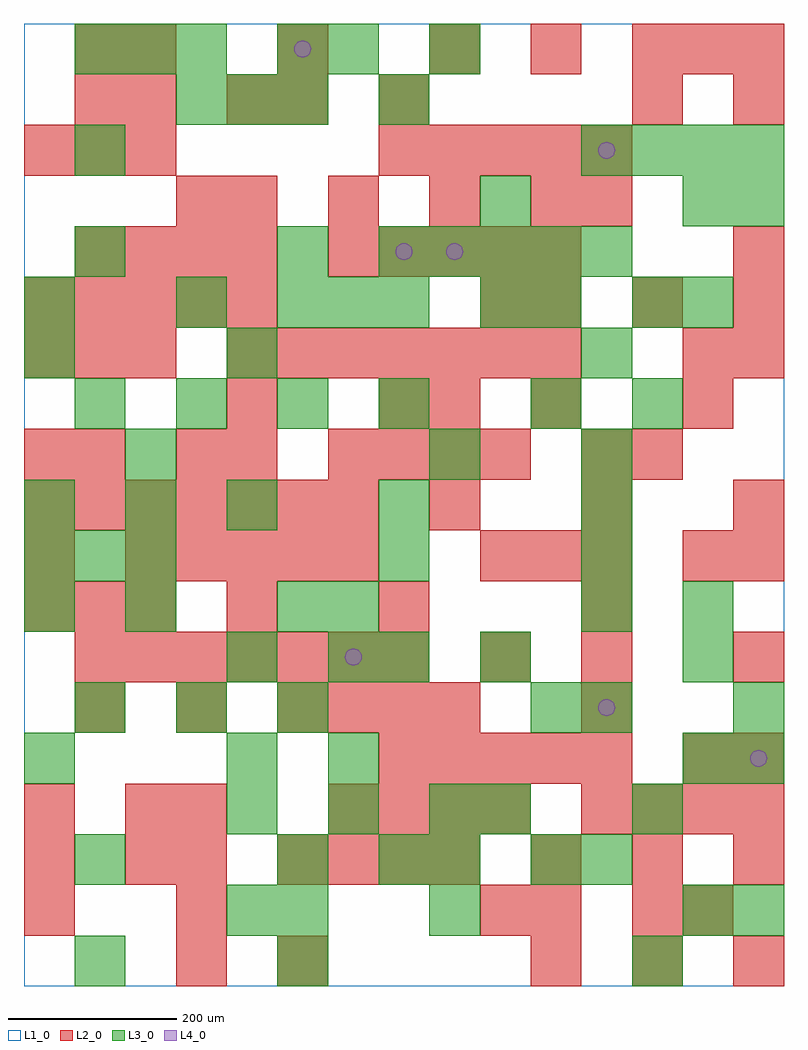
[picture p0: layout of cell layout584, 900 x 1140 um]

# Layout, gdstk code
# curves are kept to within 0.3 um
import gdstk
lib = gdstk.Library(unit=1e-6, precision=1e-09)
def R(c, l, rs):  # rectangles x0, y0, x1, y1
    for r in rs: c.add(gdstk.rectangle(r[:2], r[2:], *l))
def A(c, l, x, y, w, h, nx, ny, dx, dy):  # array of equal rectangles
    R(c, l, [(x+i*dx, y+j*dy, x+i*dx+w, y+j*dy+h) for i in range(nx) for j in range(ny)])
def P(c, l, *ps):  # polygons
    for p in ps: c.add(gdstk.Polygon(p, *l))
L1_0 = (1, 0)
L2_0 = (2, 0)
L3_0 = (3, 0)
L4_0 = (4, 0)

layout584 = lib.new_cell('layout584')
R(layout584, L1_0, [(0,0,900,1140)])
A(layout584, L2_0, 180, 0, 60, 60, 1, 4, 0, 60)
A(layout584, L2_0, 600, 0, 60, 60, 3, 2, 120, 120)
A(layout584, L2_0, 0, 60, 60, 60, 1, 3, 0, 60)
A(layout584, L2_0, 300, 120, 60, 60, 4, 1, 60, 0)
A(layout584, L2_0, 360, 180, 60, 60, 4, 2, 60, 420)
A(layout584, L2_0, 660, 180, 60, 60, 4, 1, 60, 0)
A(layout584, L2_0, 420, 240, 60, 60, 5, 2, 60, 720)
A(layout584, L2_0, 840, 240, 60, 60, 1, 3, 0, 120)
A(layout584, L2_0, 60, 300, 60, 60, 3, 1, 120, 0)
A(layout584, L2_0, 360, 300, 60, 60, 3, 1, 60, 0)
A(layout584, L2_0, 660, 300, 60, 60, 1, 3, 0, 60)
A(layout584, L2_0, 60, 360, 60, 60, 7, 1, 60, 0)
A(layout584, L2_0, 0, 420, 60, 60, 3, 2, 60, 300)
A(layout584, L2_0, 120, 480, 60, 60, 5, 1, 60, 0)
A(layout584, L2_0, 540, 480, 60, 60, 3, 1, 60, 0)
A(layout584, L2_0, 0, 540, 60, 60, 7, 1, 60, 0)
A(layout584, L2_0, 480, 540, 60, 60, 3, 1, 180, 0)
A(layout584, L2_0, 240, 720, 60, 60, 7, 1, 60, 0)
A(layout584, L2_0, 0, 780, 60, 60, 5, 1, 60, 0)
A(layout584, L2_0, 600, 780, 60, 60, 3, 1, 120, 0)
A(layout584, L2_0, 60, 840, 60, 60, 4, 1, 60, 0)
A(layout584, L2_0, 360, 840, 60, 60, 5, 1, 60, 0)
A(layout584, L2_0, 240, 900, 60, 60, 4, 1, 120, 0)
A(layout584, L2_0, 0, 960, 60, 60, 3, 1, 60, 0)
A(layout584, L2_0, 120, 1080, 60, 60, 3, 1, 180, 0)
A(layout584, L2_0, 720, 1080, 60, 60, 3, 1, 60, 0)
R(layout584, L2_0, [(300,0,360,60), (540,60,600,120), (600,60,660,120), (720,60,780,120), (780,60,840,120), (120,120,180,180), (120,180,180,240), (780,240,840,300), (540,360,600,420), (240,420,300,480), (420,420,480,480), (0,480,60,540), (780,480,840,540), (0,600,60,660), (60,600,120,660), (180,600,240,660), (240,600,300,660), (660,600,720,660), (720,600,780,660), (240,660,300,720), (420,660,480,720), (480,660,540,720), (600,660,660,720), (780,660,840,720), (780,720,840,780), (840,720,900,780), (540,780,600,840), (840,840,900,900), (180,900,240,960), (660,900,720,960), (60,1020,120,1080), (120,1020,180,1080), (240,1020,300,1080), (300,1020,360,1080), (420,1020,480,1080), (720,1020,780,1080), (840,1020,900,1080), (60,1080,120,1140), (600,1080,660,1140)])
A(layout584, L3_0, 300, 0, 60, 60, 1, 3, 0, 60)
A(layout584, L3_0, 480, 120, 60, 60, 1, 3, 0, 480)
A(layout584, L3_0, 240, 180, 60, 60, 3, 1, 120, 0)
A(layout584, L3_0, 60, 300, 60, 60, 3, 1, 120, 0)
A(layout584, L3_0, 660, 420, 60, 60, 1, 4, 0, 60)
A(layout584, L3_0, 0, 480, 60, 60, 3, 1, 60, 0)
A(layout584, L3_0, 0, 540, 60, 60, 3, 1, 120, 0)
A(layout584, L3_0, 60, 660, 60, 60, 4, 1, 120, 0)
A(layout584, L3_0, 300, 780, 60, 60, 3, 1, 60, 0)
A(layout584, L3_0, 420, 840, 60, 60, 5, 1, 60, 0)
A(layout584, L3_0, 660, 960, 60, 60, 4, 1, 60, 0)
A(layout584, L3_0, 180, 1020, 60, 60, 3, 1, 60, 0)
A(layout584, L3_0, 60, 1080, 60, 60, 3, 1, 60, 0)
R(layout584, L3_0, [(60,0,120,60), (720,0,780,60), (240,60,300,120), (480,60,540,120), (780,60,840,120), (840,60,900,120), (60,120,120,180), (420,120,480,180), (600,120,660,180), (660,120,720,180), (540,180,600,240), (720,180,780,240), (0,240,60,300), (240,240,300,300), (360,240,420,300), (780,240,840,300), (840,240,900,300), (600,300,660,360), (660,300,720,360), (840,300,900,360), (240,360,300,420), (360,360,420,420), (420,360,480,420), (540,360,600,420), (780,360,840,420), (0,420,60,480), (120,420,180,480), (300,420,360,480), (360,420,420,480), (780,420,840,480), (420,480,480,540), (420,540,480,600), (120,600,180,660), (600,660,660,720), (720,660,780,720), (0,720,60,780), (240,720,300,780), (660,720,720,780), (0,780,60,840), (180,780,240,840), (540,780,600,840), (600,780,660,840), (720,780,780,840), (780,780,840,840), (60,840,120,900), (300,840,360,900), (540,900,600,960), (780,900,840,960), (840,900,900,960), (60,960,120,1020), (420,1020,480,1080), (300,1080,360,1140), (360,1080,420,1140)])
P(layout584, L4_0, [(340,1110),(339.239,1113.827),(337.071,1117.071),(333.827,1119.239),(330,1120),(326.173,1119.239),(322.929,1117.071),(320.761,1113.827),(320,1110),(320.761,1106.173),(322.929,1102.929),(326.173,1100.761),(330,1100),(333.827,1100.761),(337.071,1102.929),(339.239,1106.173)],
  [(400,390),(399.239,393.827),(397.071,397.071),(393.827,399.239),(390,400),(386.173,399.239),(382.929,397.071),(380.761,393.827),(380,390),(380.761,386.173),(382.929,382.929),(386.173,380.761),(390,380),(393.827,380.761),(397.071,382.929),(399.239,386.173)],
  [(460,870),(459.239,873.827),(457.071,877.071),(453.827,879.239),(450,880),(446.173,879.239),(442.929,877.071),(440.761,873.827),(440,870),(440.761,866.173),(442.929,862.929),(446.173,860.761),(450,860),(453.827,860.761),(457.071,862.929),(459.239,866.173)],
  [(520,870),(519.239,873.827),(517.071,877.071),(513.827,879.239),(510,880),(506.173,879.239),(502.929,877.071),(500.761,873.827),(500,870),(500.761,866.173),(502.929,862.929),(506.173,860.761),(510,860),(513.827,860.761),(517.071,862.929),(519.239,866.173)],
  [(700,330),(699.239,333.827),(697.071,337.071),(693.827,339.239),(690,340),(686.173,339.239),(682.929,337.071),(680.761,333.827),(680,330),(680.761,326.173),(682.929,322.929),(686.173,320.761),(690,320),(693.827,320.761),(697.071,322.929),(699.239,326.173)],
  [(700,990),(699.239,993.827),(697.071,997.071),(693.827,999.239),(690,1000),(686.173,999.239),(682.929,997.071),(680.761,993.827),(680,990),(680.761,986.173),(682.929,982.929),(686.173,980.761),(690,980),(693.827,980.761),(697.071,982.929),(699.239,986.173)],
  [(880,270),(879.239,273.827),(877.071,277.071),(873.827,279.239),(870,280),(866.173,279.239),(862.929,277.071),(860.761,273.827),(860,270),(860.761,266.173),(862.929,262.929),(866.173,260.761),(870,260),(873.827,260.761),(877.071,262.929),(879.239,266.173)])

lib.write_gds('layout584.gds')
